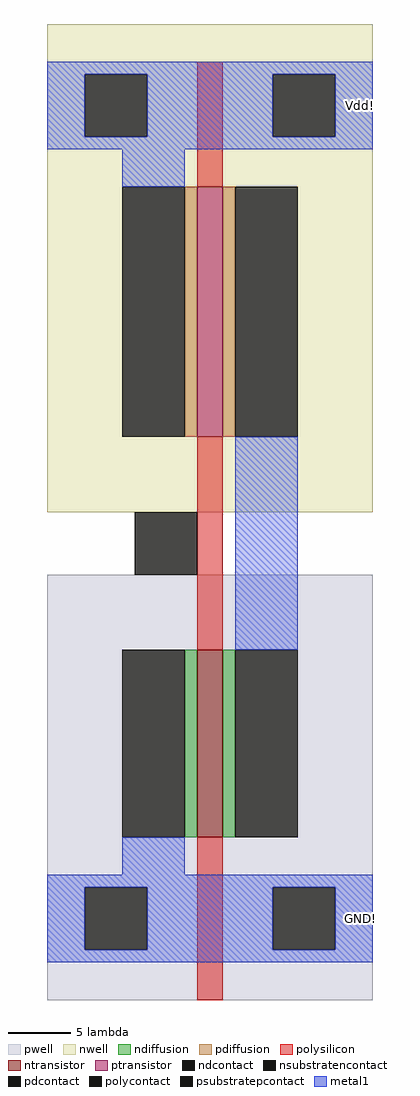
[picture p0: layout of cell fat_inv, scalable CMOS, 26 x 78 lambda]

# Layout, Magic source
magic
tech scmos
<< nwell >>
rect -19 16 7 55
<< pwell >>
rect -19 -23 7 11
<< ntransistor >>
rect -7 -10 -5 5
<< ptransistor >>
rect -7 22 -5 42
<< ndiffusion >>
rect -8 -10 -7 5
rect -5 -10 -4 5
<< pdiffusion >>
rect -8 22 -7 42
rect -5 22 -4 42
<< ndcontact >>
rect -13 -10 -8 5
rect -4 -10 1 5
<< pdcontact >>
rect -13 22 -8 42
rect -4 22 1 42
<< psubstratepcontact >>
rect -16 -19 -11 -14
rect -1 -19 4 -14
<< nsubstratencontact >>
rect -16 46 -11 51
rect -1 46 4 51
<< polysilicon >>
rect -7 42 -5 52
rect -7 5 -5 22
rect -7 -23 -5 -10
<< polycontact >>
rect -12 11 -7 16
<< metal1 >>
rect -19 51 7 52
rect -19 46 -16 51
rect -11 46 -1 51
rect 4 46 7 51
rect -19 45 7 46
rect -13 42 -8 45
rect -4 5 1 22
rect -13 -13 -8 -10
rect -19 -14 7 -13
rect -19 -19 -16 -14
rect -11 -19 -1 -14
rect 4 -19 7 -14
rect -19 -20 7 -19
<< labels >>
rlabel metal1 6 46 6 51 7 Vdd!
rlabel metal1 6 -19 6 -14 7 GND!
<< end >>
